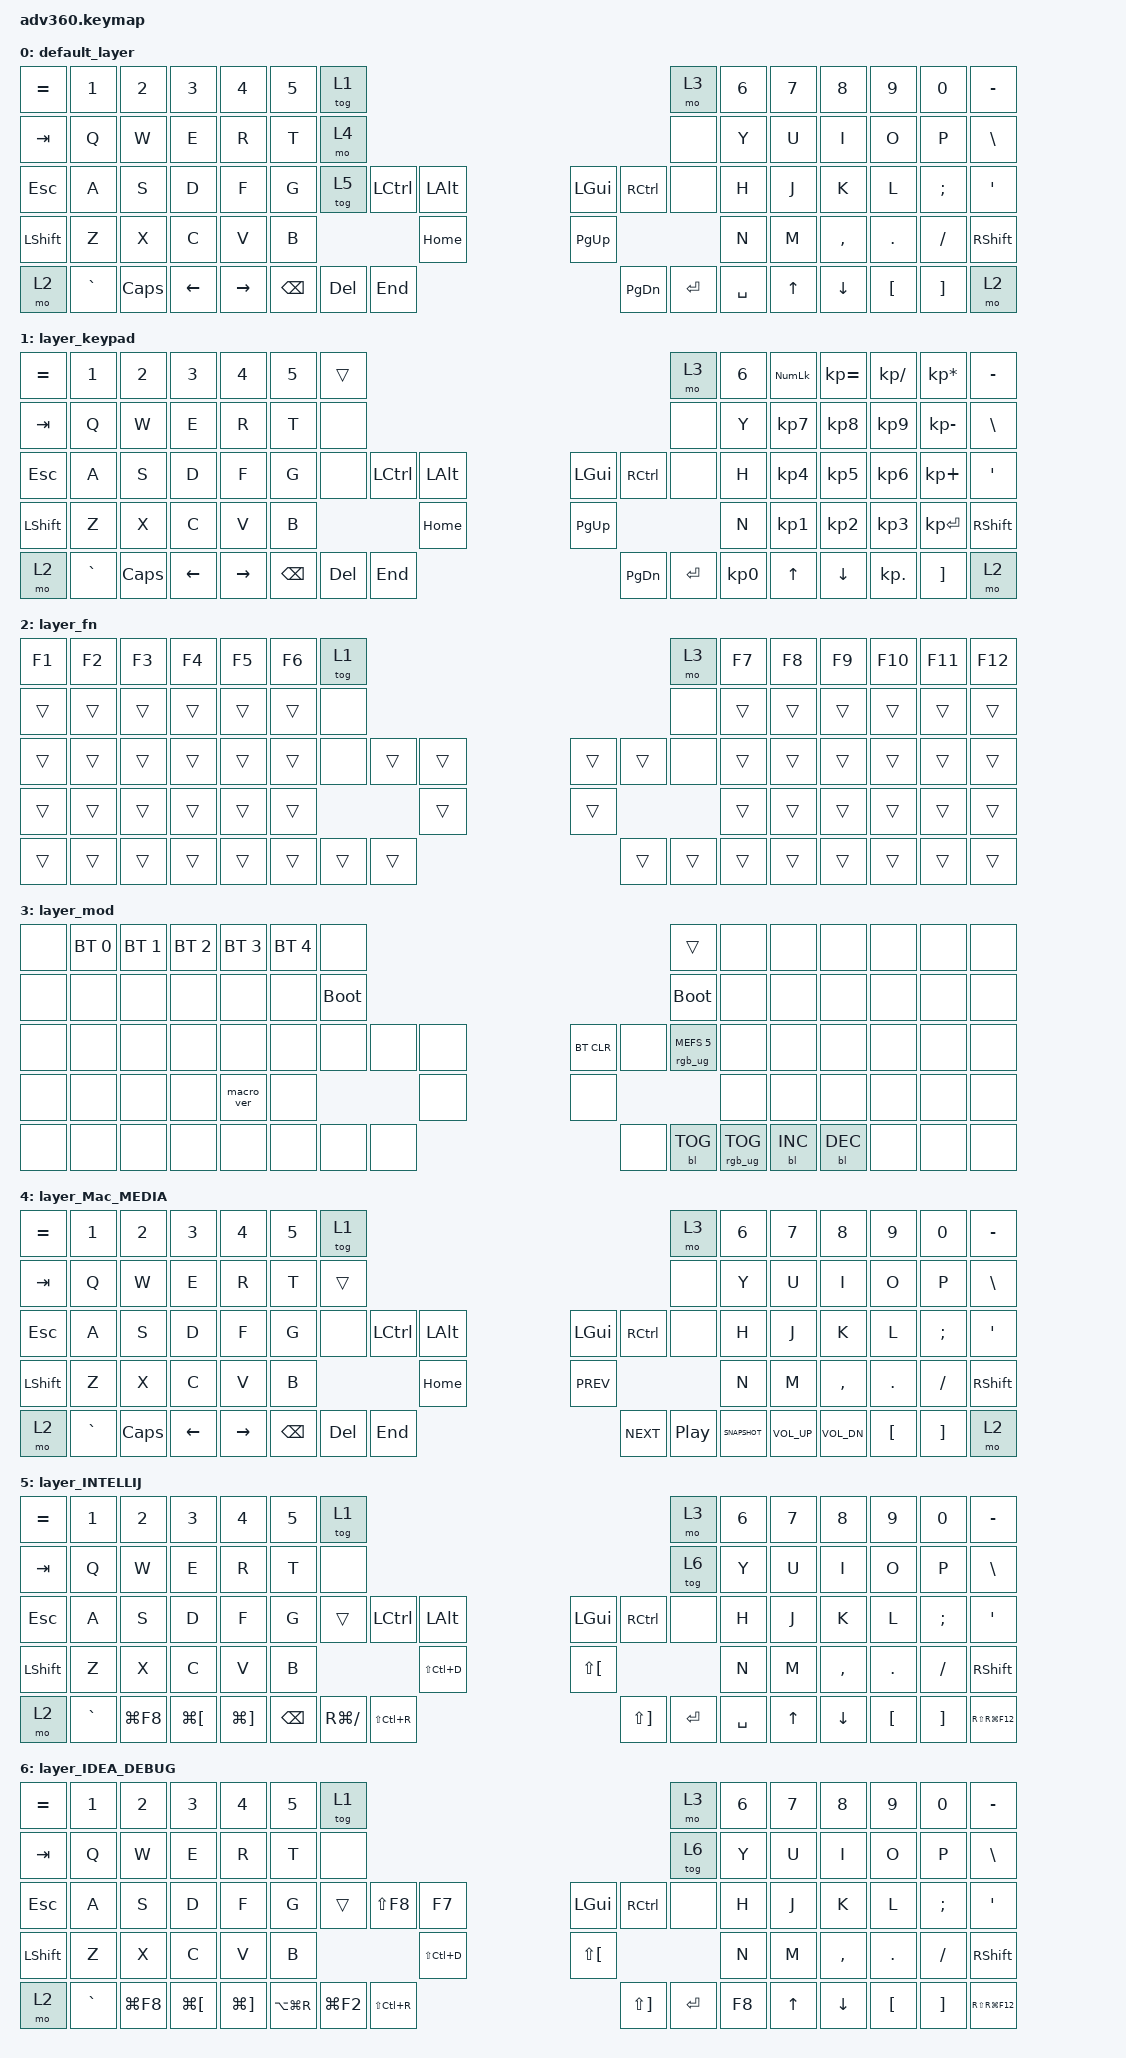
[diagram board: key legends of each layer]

/*
 * Copyright (c) 2020 The ZMK Contributors
 *
 * SPDX-License-Identifier: MIT
 */


/* THIS FILE WAS GENERATED!
 *
 * This file was generated automatically. You may or may not want to
 * edit it directly.
 */

#include <behaviors.dtsi>
#include <dt-bindings/zmk/keys.h>
#include <dt-bindings/zmk/bt.h>
#include <dt-bindings/zmk/rgb.h>
#include <dt-bindings/zmk/backlight.h>

/ {
  behaviors {
    #include "macros.dtsi"
    #include "version.dtsi"

    hm: homerow_mods {
        compatible = "zmk,behavior-hold-tap";
        label = "HOMEROW_MODS";
        #binding-cells = <2>;
        tapping-term-ms = <200>;
        quick_tap_ms = <175>;
        flavor = "tap-preferred";
        bindings = <&kp>, <&kp>;
    };
  };

    keymap {
        compatible = "zmk,keymap";


        default_layer {
            bindings = <
 &kp EQUAL     &kp N1    &kp N2    &kp N3     &kp N4  &kp N5              &tog 1                                                                 &mo 3  &kp N6  &kp N7     &kp N8    &kp N9    &kp N0  &kp MINUS
   &kp TAB      &kp Q     &kp W     &kp E      &kp R   &kp T               &mo 4                                                                 &none   &kp Y   &kp U      &kp I     &kp O     &kp P   &kp BSLH
   &kp ESC      &kp A     &kp S     &kp D      &kp F   &kp G              &tog 5  &kp LCTRL  &kp LALT                   &kp LGUI  &kp RCTRL      &none   &kp H   &kp J      &kp K     &kp L  &kp SEMI    &kp SQT
 &kp LSHFT      &kp Z     &kp X     &kp C      &kp V   &kp B                                 &kp HOME                  &kp PG_UP                         &kp N   &kp M  &kp COMMA   &kp DOT  &kp FSLH  &kp RSHFT
     &mo 2  &kp GRAVE  &kp CAPS  &kp LEFT  &kp RIGHT                    &kp BSPC    &kp DEL   &kp END                  &kp PG_DN  &kp ENTER  &kp SPACE          &kp UP   &kp DOWN  &kp LBKT  &kp RBKT      &mo 2
            >;
        };

        layer_keypad {
            bindings = <
 &kp EQUAL     &kp N1    &kp N2    &kp N3     &kp N4  &kp N5              &trans                                                                 &mo 3  &kp N6  &kp KP_NUM  &kp KP_EQUAL  &kp KP_DIVIDE  &kp KP_MULTIPLY  &kp MINUS
   &kp TAB      &kp Q     &kp W     &kp E      &kp R   &kp T               &none                                                                 &none   &kp Y   &kp KP_N7     &kp KP_N8      &kp KP_N9     &kp KP_MINUS   &kp BSLH
   &kp ESC      &kp A     &kp S     &kp D      &kp F   &kp G               &none  &kp LCTRL  &kp LALT                   &kp LGUI  &kp RCTRL      &none   &kp H   &kp KP_N4     &kp KP_N5      &kp KP_N6      &kp KP_PLUS    &kp SQT
 &kp LSHFT      &kp Z     &kp X     &kp C      &kp V   &kp B                                 &kp HOME                  &kp PG_UP                         &kp N   &kp KP_N1     &kp KP_N2      &kp KP_N3     &kp KP_ENTER  &kp RSHFT
     &mo 2  &kp GRAVE  &kp CAPS  &kp LEFT  &kp RIGHT                    &kp BSPC    &kp DEL   &kp END                  &kp PG_DN  &kp ENTER  &kp KP_N0              &kp UP      &kp DOWN     &kp KP_DOT         &kp RBKT      &mo 2
            >;
        };

        layer_fn {
            bindings = <
 &kp F1  &kp F2  &kp F3  &kp F4  &kp F5  &kp F6            &tog 1                                                   &mo 3  &kp F7  &kp F8  &kp F9  &kp F10  &kp F11  &kp F12
 &trans  &trans  &trans  &trans  &trans  &trans             &none                                                   &none  &trans  &trans  &trans   &trans   &trans   &trans
 &trans  &trans  &trans  &trans  &trans  &trans             &none  &trans  &trans                  &trans  &trans   &none  &trans  &trans  &trans   &trans   &trans   &trans
 &trans  &trans  &trans  &trans  &trans  &trans                            &trans                  &trans                  &trans  &trans  &trans   &trans   &trans   &trans
 &trans  &trans  &trans  &trans  &trans                    &trans  &trans  &trans                  &trans  &trans  &trans          &trans  &trans   &trans   &trans   &trans
            >;
        };

        layer_mod {
            bindings = <
  &none  &bt BT_SEL 0  &bt BT_SEL 1  &bt BT_SEL 2  &bt BT_SEL 3  &bt BT_SEL 4                  &none                                                                          &trans   &none       &none       &none   &none   &none   &none
  &none         &none         &none         &none         &none         &none            &bootloader                                                                     &bootloader   &none       &none       &none   &none   &none   &none
  &none         &none         &none         &none         &none         &none                  &none   &none   &none                  &bt BT_CLR       &none  &rgb_ug RGB_MEFS_CMD 5   &none       &none       &none   &none   &none   &none
  &none         &none         &none         &none    &macro_ver         &none                                  &none                       &none                                       &none       &none       &none   &none   &none   &none
  &none         &none         &none         &none         &none                                &none   &none   &none                       &none  &bl BL_TOG         &rgb_ug RGB_TOG          &bl BL_INC  &bl BL_DEC   &none   &none   &none
            >;
        };

        layer_Mac_MEDIA {
            bindings = <
 &kp EQUAL     &kp N1    &kp N2    &kp N3     &kp N4  &kp N5              &tog 1                                                                              &mo 3  &kp N6        &kp N7        &kp N8    &kp N9    &kp N0  &kp MINUS
   &kp TAB      &kp Q     &kp W     &kp E      &kp R   &kp T              &trans                                                                              &none   &kp Y         &kp U         &kp I     &kp O     &kp P   &kp BSLH
   &kp ESC      &kp A     &kp S     &kp D      &kp F   &kp G               &none  &kp LCTRL  &kp LALT                    &kp LGUI         &kp RCTRL           &none   &kp H         &kp J         &kp K     &kp L  &kp SEMI    &kp SQT
 &kp LSHFT      &kp Z     &kp X     &kp C      &kp V   &kp B                                 &kp HOME                  &kp C_PREV                                     &kp N         &kp M     &kp COMMA   &kp DOT  &kp FSLH  &kp RSHFT
     &mo 2  &kp GRAVE  &kp CAPS  &kp LEFT  &kp RIGHT                    &kp BSPC    &kp DEL   &kp END                  &kp C_NEXT  &kp C_PLAY_PAUSE  &kp C_SNAPSHOT          &kp C_VOL_UP  &kp C_VOL_DN  &kp LBKT  &kp RBKT      &mo 2
            >;
        };

        layer_INTELLIJ {
            bindings = <
 &kp EQUAL     &kp N1      &kp N2        &kp N3        &kp N4  &kp N5              &tog 1                                                                            &mo 3  &kp N6  &kp N7     &kp N8    &kp N9    &kp N0        &kp MINUS
   &kp TAB      &kp Q       &kp W         &kp E         &kp R   &kp T               &none                                                                           &tog 6   &kp Y   &kp U      &kp I     &kp O     &kp P         &kp BSLH
   &kp ESC      &kp A       &kp S         &kp D         &kp F   &kp G              &trans     &kp LCTRL       &kp LALT                      &kp LGUI  &kp RCTRL      &none   &kp H   &kp J      &kp K     &kp L  &kp SEMI          &kp SQT
 &kp LSHFT      &kp Z       &kp X         &kp C         &kp V   &kp B                                    &kp LS(LC(D))                  &kp LS(LBKT)                         &kp N   &kp M  &kp COMMA   &kp DOT  &kp FSLH        &kp RSHFT
     &mo 2  &kp GRAVE  &kp LG(F8)  &kp LG(LBKT)  &kp LG(RBKT)                    &kp BSPC  &kp RG(FSLH)  &kp LS(LC(R))                  &kp LS(RBKT)  &kp ENTER  &kp SPACE          &kp UP   &kp DOWN  &kp LBKT  &kp RBKT  &kp RS(RG(F12))
            >;
        };

        layer_IDEA_DEBUG {
            bindings = <
 &kp EQUAL     &kp N1      &kp N2        &kp N3        &kp N4  &kp N5                   &tog 1                                                                       &mo 3  &kp N6  &kp N7     &kp N8    &kp N9    &kp N0        &kp MINUS
   &kp TAB      &kp Q       &kp W         &kp E         &kp R   &kp T                    &none                                                                      &tog 6   &kp Y   &kp U      &kp I     &kp O     &kp P         &kp BSLH
   &kp ESC      &kp A       &kp S         &kp D         &kp F   &kp G                   &trans  &kp LS(F8)         &kp F7                      &kp LGUI  &kp RCTRL   &none   &kp H   &kp J      &kp K     &kp L  &kp SEMI          &kp SQT
 &kp LSHFT      &kp Z       &kp X         &kp C         &kp V   &kp B                                       &kp LS(LC(D))                  &kp LS(LBKT)                      &kp N   &kp M  &kp COMMA   &kp DOT  &kp FSLH        &kp RSHFT
     &mo 2  &kp GRAVE  &kp LG(F8)  &kp LG(LBKT)  &kp LG(RBKT)                    &kp LA(LG(R))  &kp LG(F2)  &kp LS(LC(R))                  &kp LS(RBKT)  &kp ENTER  &kp F8          &kp UP   &kp DOWN  &kp LBKT  &kp RBKT  &kp RS(RG(F12))
            >;
        };

    };
};
